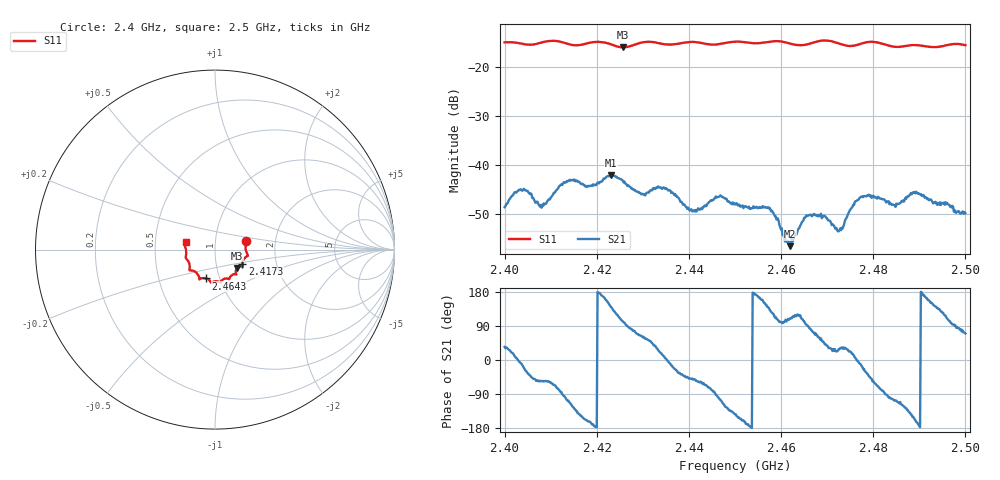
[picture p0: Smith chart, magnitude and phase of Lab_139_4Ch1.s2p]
# Hz S RI R 50
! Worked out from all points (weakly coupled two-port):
!   601 points, 2.4 GHz to 2.5 GHz, reference 50 ohm
!   highest |S21| = -42.08 dB at 2.423 GHz (marker M1); lowest = -56.7 dB at 2.4618 GHz (marker M2)
!   lowest |S11| = -15.9 dB at 2.4257 GHz (marker M3), VSWR 1.38, Z = 62.5 - j13.1 ohm
!   |S11| at or under -10 dB: start of sweep to end of sweep
!   S12 and S22 are empty: the file has one direction only
!   S11 on the Smith chart (normalised r, x): 2.4 GHz: 1.41, +0.15; 2.4173 GHz: 1.34, -0.23; 2.4643 GHz: 0.86, -0.28; 2.5 GHz: 0.72, +0.06
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2.4e9  0.173 0.0498  0.00303 0.00208  0 0  0 0
2.403167e9  0.1733 0.0334  0.00552 -0.000448  0 0  0 0
2.407833e9  0.1774 -0.0194  0.00223 -0.00317  0 0  0 0
2.413333e9  0.1707 -0.0421  -0.00136 -0.00645  0 0  0 0
2.416667e9  0.1529 -0.0749  -0.00534 -0.00339  0 0  0 0
2.417333e9  0.1522 -0.0823  -0.00566 -0.00253  0 0  0 0
2.423e9  0.145 -0.0931  -0.0061 0.00497  0 0  0 0
2.425667e9  0.1227 -0.1022  -0.00139 0.00675  0 0  0 0
2.43e9  0.1179 -0.1363  0.00253 0.00435  0 0  0 0
2.433333e9  0.1124 -0.1368  0.0054 0.00262  0 0  0 0
2.4405e9  0.079 -0.1641  0.00226 -0.00267  0 0  0 0
2.446333e9  0.0448 -0.1662  -0.000674 -0.00464  0 0  0 0
2.45e9  0.0296 -0.1809  -0.00315 -0.00235  0 0  0 0
2.4575e9  -0.0165 -0.1821  -0.00249 0.00263  0 0  0 0
2.461833e9  -0.0288 -0.1735  -0.000477 0.00138  0 0  0 0
2.464333e9  -0.0502 -0.1605  -0.000877 0.0023  0 0  0 0
2.466667e9  -0.0764 -0.16  0.000642 0.00289  0 0  0 0
2.472667e9  -0.0893 -0.1498  0.00186 0.00102  0 0  0 0
2.4775e9  -0.1313 -0.1162  0.00452 -0.00135  0 0  0 0
2.483333e9  -0.141 -0.0895  -0.000652 -0.00418  0 0  0 0
2.489333e9  -0.1628 -0.0444  -0.00506 -0.00155  0 0  0 0
2.5e9  -0.1634 0.042  0.0011 0.003  0 0  0 0
